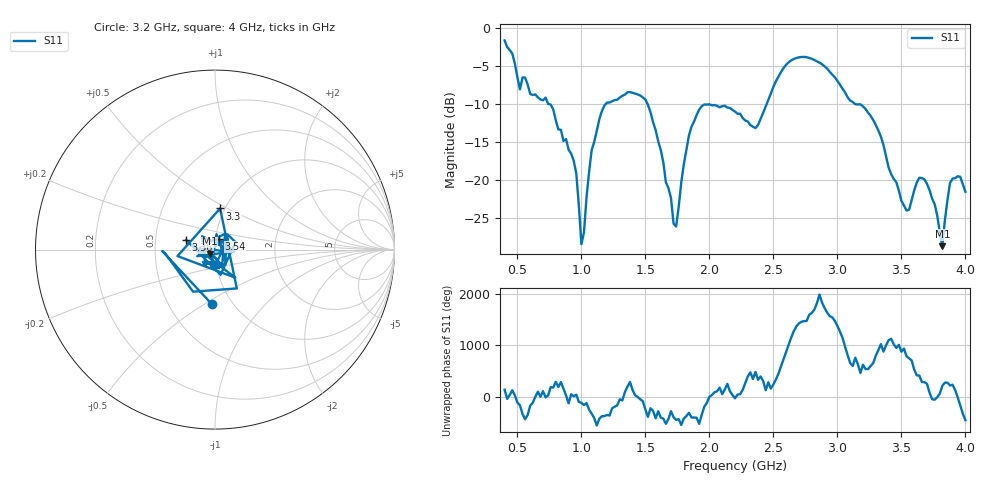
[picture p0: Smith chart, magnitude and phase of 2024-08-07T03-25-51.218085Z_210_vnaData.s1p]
!Created with skrf (http://scikit-rf.org).
# Hz S RI R 50.0
!freq ReS11 ImS11
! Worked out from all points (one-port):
!   181 points, 400 MHz to 4 GHz, reference 50 ohm
!   lowest |S11| = -28.6 dB at 3.82 GHz (marker M1), VSWR 1.08, Z = 47.1 - j2.17 ohm
!   |S11| at or under -10 dB: 743.7 MHz to 1.189 GHz (445.8 MHz wide, 46.1 % of centre); 1.517 GHz to 2.447 GHz (930.1 MHz wide, 46.9 % of centre); 3.138 GHz to end of sweep
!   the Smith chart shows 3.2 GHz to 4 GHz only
!   S11 on the Smith chart (normalised r, x): 3.2 GHz: 0.81, -0.54; 3.3 GHz: 0.95, +0.46; 3.36 GHz: 0.72, +0.08; 3.54 GHz: 1.04, +0.12; 4 GHz: 0.99, -0.17
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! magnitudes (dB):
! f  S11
! 400 MHz  -1.7
! 520 MHz  -8.1
! 720 MHz  -9.1
! 860 MHz  -14.8
! 960 MHz  -19.1
! 1 GHz  -28.4
! 1.08 GHz  -16.1
! 1.14 GHz  -12.0
! 1.3 GHz  -9.1
! 1.5 GHz  -9.4
! 1.62 GHz  -16.0
! 1.72 GHz  -25.7
! 1.76 GHz  -23.5
! 1.84 GHz  -14.1
! 1.92 GHz  -10.7
! 2.2 GHz  -11.0
! 2.36 GHz  -13.1
! 2.66 GHz  -4.1
! 3.1 GHz  -9.5
! 3.2 GHz  -10.3
! 3.3 GHz  -12.7
! 3.36 GHz  -15.4
! 3.54 GHz  -24.0
! 3.56 GHz  -23.9
! 3.68 GHz  -19.9
! 3.82 GHz  -28.6
! 3.88 GHz  -20.3
! 4 GHz  -21.5
